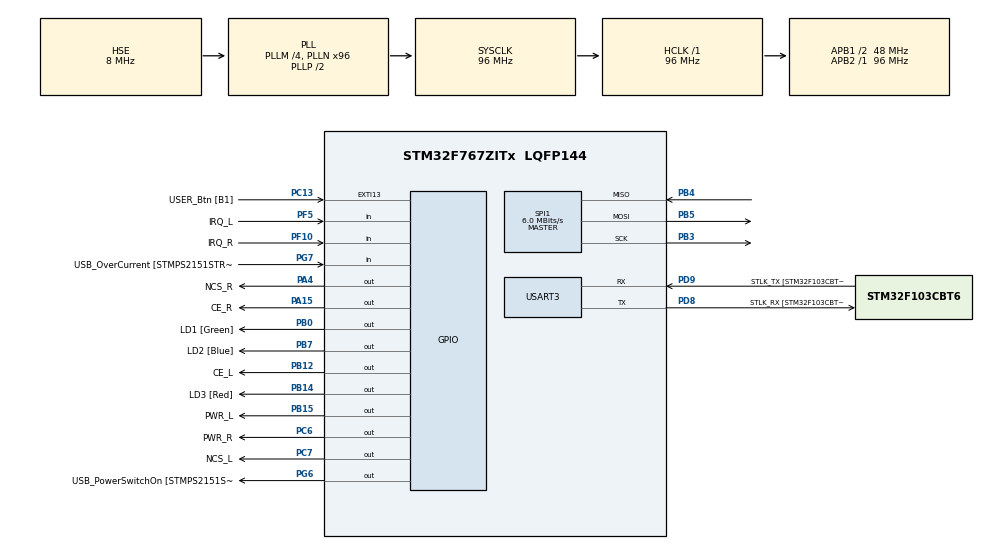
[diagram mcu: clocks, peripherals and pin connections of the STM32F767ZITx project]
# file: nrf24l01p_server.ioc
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FREERTOS.Mutexes01=myMutex01,Dynamic,NULL
FREERTOS.Tasks01=defaultTask,0,128,StartDefaultTask,Default,NULL,Dynamic,NULL,NULL;ptxTask,0,128,startPtxTask,Default,NULL,Dynamic,NULL,NULL;prxTask,-3,128,startPrxTask,Default,NULL,Dynamic,NULL,NULL
FREERTOS.configUSE_NEWLIB_REENTRANT=1
Mcu.Family=STM32F7
Mcu.Name=STM32F767ZITx
Mcu.Package=LQFP144
NVIC.EXTI15_10_IRQn=true\:5\:0\:false\:false\:true\:true\:true\:true
NVIC.PriorityGroup=NVIC_PRIORITYGROUP_4
NVIC.TIM1_UP_TIM10_IRQn=true\:15\:0\:false\:false\:true\:false\:false\:true
NVIC.TimeBase=TIM1_UP_TIM10_IRQn
NVIC.TimeBaseIP=TIM1
NVIC.USART3_IRQn=true\:5\:0\:false\:false\:true\:true\:true\:true
PA1.GPIO_Label=RMII_REF_CLK [LAN8742A-CZ-TR_REFCLK0]
PA1.Signal=ETH_REF_CLK
PA10.GPIO_Label=USB_ID
PA10.Signal=USB_OTG_FS_ID
PA11.GPIO_Label=USB_DM
PA11.Signal=USB_OTG_FS_DM
PA12.GPIO_Label=USB_DP
PA12.Signal=USB_OTG_FS_DP
PA13.GPIO_Label=TMS
PA13.Mode=Serial_Wire
PA13.Signal=SYS_JTMS-SWDIO
PA14.GPIO_Label=TCK
PA14.Mode=Serial_Wire
PA14.Signal=SYS_JTCK-SWCLK
PA15.GPIO_Label=CE_R
PA15.Signal=GPIO_Output
PA2.GPIO_Label=RMII_MDIO [LAN8742A-CZ-TR_MDIO]
PA2.Signal=ETH_MDIO
PA4.GPIO_Label=NCS_R
PA4.PinState=GPIO_PIN_SET
PA4.Signal=GPIO_Output
PA7.GPIO_Label=RMII_CRS_DV [LAN8742A-CZ-TR_CRS_DV]
PA7.Signal=ETH_CRS_DV
PA8.GPIO_Label=USB_SOF [TP1]
PA8.Signal=USB_OTG_FS_SOF
PA9.GPIO_Label=USB_VBUS
PA9.Signal=USB_OTG_FS_VBUS
PB0.GPIO_Label=LD1 [Green]
PB0.Signal=GPIO_Output
PB12.GPIO_Label=CE_L
PB12.Signal=GPIO_Output
PB13.GPIO_Label=RMII_TXD1 [LAN8742A-CZ-TR_TXD1]
PB13.Signal=ETH_TXD1
PB14.GPIO_Label=LD3 [Red]
PB14.Signal=GPIO_Output
PB15.GPIO_Label=PWR_L
PB15.PinState=GPIO_PIN_SET
PB15.Signal=GPIO_Output
PB3.Mode=Full_Duplex_Master
PB3.Signal=SPI1_SCK
PB4.Mode=Full_Duplex_Master
PB4.Signal=SPI1_MISO
PB5.Mode=Full_Duplex_Master
PB5.Signal=SPI1_MOSI
PB7.GPIO_Label=LD2 [Blue]
PB7.Signal=GPIO_Output
PC1.GPIO_Label=RMII_MDC [LAN8742A-CZ-TR_MDC]
PC1.Signal=ETH_MDC
PC13.GPIO_Label=USER_Btn [B1]
PC13.Signal=GPXTI13
PC14/OSC32_IN.Mode=LSE-External-Oscillator
PC14/OSC32_IN.Signal=RCC_OSC32_IN
PC15/OSC32_OUT.Mode=LSE-External-Oscillator
PC15/OSC32_OUT.Signal=RCC_OSC32_OUT
PC4.GPIO_Label=RMII_RXD0 [LAN8742A-CZ-TR_RXD0]
PC4.Signal=ETH_RXD0
PC5.GPIO_Label=RMII_RXD1 [LAN8742A-CZ-TR_RXD1]
PC5.Signal=ETH_RXD1
PC6.GPIO_Label=PWR_R
PC6.PinState=GPIO_PIN_SET
PC6.Signal=GPIO_Output
PC7.GPIO_Label=NCS_L
PC7.Signal=GPIO_Output
PD8.GPIO_Label=STLK_RX [STM32F103CBT6_PA3]
PD8.Mode=Asynchronous
PD8.Signal=USART3_TX
PD9.GPIO_Label=STLK_TX [STM32F103CBT6_PA2]
PD9.Mode=Asynchronous
PD9.Signal=USART3_RX
PF10.GPIO_Label=IRQ_R
PF10.GPIO_PuPd=GPIO_PULLUP
PF10.Signal=GPIO_Input
PF5.GPIO_Label=IRQ_L
PF5.GPIO_PuPd=GPIO_PULLUP
PF5.Signal=GPIO_Input
PG11.GPIO_Label=RMII_TX_EN [LAN8742A-CZ-TR_TXEN]
PG11.Signal=ETH_TX_EN
PG13.GPIO_Label=RMII_TXD0 [LAN8742A-CZ-TR_TXD0]
PG13.Signal=ETH_TXD0
PG6.GPIO_Label=USB_PowerSwitchOn [STMPS2151STR_EN]
PG6.Signal=GPIO_Output
PG7.GPIO_Label=USB_OverCurrent [STMPS2151STR_FAULT]
PG7.Signal=GPIO_Input
PH0/OSC_IN.GPIO_Label=MCO [STM32F103CBT6_PA8]
PH0/OSC_IN.Mode=HSE-External-Clock-Source
PH0/OSC_IN.Signal=RCC_OSC_IN
PH1/OSC_OUT.Mode=HSE-External-Clock-Source
PH1/OSC_OUT.Signal=RCC_OSC_OUT
ProjectManager.HeapSize=0x200
ProjectManager.StackSize=0x400
ProjectManager.TargetToolchain=STM32CubeIDE
RCC.48MHZClocksFreq_Value=24000000
RCC.AHBFreq_Value=96000000
RCC.APB1CLKDivider=RCC_HCLK_DIV2
RCC.APB1Freq_Value=48000000
RCC.APB1TimFreq_Value=96000000
RCC.APB2Freq_Value=96000000
RCC.APB2TimFreq_Value=96000000
RCC.CortexFreq_Value=96000000
RCC.HCLKFreq_Value=96000000
RCC.HSE_VALUE=8000000
RCC.HSI_VALUE=16000000
RCC.PLLM=4
RCC.PLLMUL=RCC_PLL_MUL9
RCC.PLLN=96
RCC.PLLQ=4
RCC.PLLSourceVirtual=RCC_PLLSOURCE_HSE
RCC.PRESCALERUSB=RCC_USBCLKSOURCE_PLL_DIV1_5
RCC.SYSCLKFreq_VALUE=96000000
RCC.SYSCLKSource=RCC_SYSCLKSOURCE_PLLCLK
RCC.SYSCLKSourceVirtual=RCC_SYSCLKSOURCE_PLLCLK
RCC.USBFreq_Value=48000000
RCC.VCOOutputFreq_Value=192000000
SPI1.BaudRatePrescaler=SPI_BAUDRATEPRESCALER_16
SPI1.CalculateBaudRate=6.0 MBits/s
SPI1.DataSize=SPI_DATASIZE_8BIT
SPI1.Direction=SPI_DIRECTION_2LINES
SPI1.Mode=SPI_MODE_MASTER
SPI1.VirtualType=VM_MASTER
USART3.VirtualMode-Asynchronous=VM_ASYNC
VP_FREERTOS_VS_CMSIS_V1.Mode=CMSIS_V1
VP_SYS_VS_tim1.Mode=TIM1
board=NUCLEO-F767ZI

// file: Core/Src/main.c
/* USER CODE BEGIN Header */
/**
  ******************************************************************************
  * @file           : main.c
  * @brief          : Main program body
  ******************************************************************************
  * @attention
  *
  * Copyright (c) 2022 STMicroelectronics.
  * All rights reserved.
  *
  * This software is licensed under terms that can be found in the LICENSE file
  * in the root directory of this software component.
  * If no LICENSE file comes with this software, it is provided AS-IS.
  *
  ******************************************************************************
  */
/* USER CODE END Header */
#include "main.h"
#include "cmsis_os.h"
#include "spi.h"
#include "usart.h"
#include "gpio.h"

/* USER CODE BEGIN Includes */
#include <string.h>
#include <stdio.h>
#include "xuart_ring.h"

#include "nrf24l01p_driver.h"
#include "nrf24l01p_driver_B.h"

/* USER CODE END Includes */

void SystemClock_Config(void);
void MX_FREERTOS_Init(void);

int main(void)
{

  /* MCU Configuration--------------------------------------------------------*/

  /* Reset of all peripherals, Initializes the Flash interface and the Systick. */
  HAL_Init();

  /* Configure the system clock */
  SystemClock_Config();

  /* Initialize all configured peripherals */
  MX_GPIO_Init();
  MX_USART3_UART_Init();
  MX_SPI1_Init();
  /* USER CODE BEGIN 2 */
  UARTstartISR();
  /* USER CODE END 2 */

  /* Call init function for freertos objects (in freertos.c) */
  MX_FREERTOS_Init();
  /* Start scheduler */
  osKernelStart();

  /* We should never get here as control is now taken by the scheduler */
  /* Infinite loop */
  while (1)
  {

  }
}

void SystemClock_Config(void)
{
  RCC_OscInitTypeDef RCC_OscInitStruct = {0};
  RCC_ClkInitTypeDef RCC_ClkInitStruct = {0};

  /** Configure LSE Drive Capability
  */
  HAL_PWR_EnableBkUpAccess();
  /** Configure the main internal regulator output voltage
  */
  __HAL_RCC_PWR_CLK_ENABLE();
  __HAL_PWR_VOLTAGESCALING_CONFIG(PWR_REGULATOR_VOLTAGE_SCALE3);
  /** Initializes the RCC Oscillators according to the specified parameters
  * in the RCC_OscInitTypeDef structure.
  */
  RCC_OscInitStruct.OscillatorType = RCC_OSCILLATORTYPE_HSE;
  RCC_OscInitStruct.HSEState = RCC_HSE_BYPASS;
  RCC_OscInitStruct.PLL.PLLState = RCC_PLL_ON;
  RCC_OscInitStruct.PLL.PLLSource = RCC_PLLSOURCE_HSE;
  RCC_OscInitStruct.PLL.PLLM = 4;
  RCC_OscInitStruct.PLL.PLLN = 96;
  RCC_OscInitStruct.PLL.PLLP = RCC_PLLP_DIV2;
  RCC_OscInitStruct.PLL.PLLQ = 4;
  RCC_OscInitStruct.PLL.PLLR = 2;
  if (HAL_RCC_OscConfig(&RCC_OscInitStruct) != HAL_OK)
  {
    Error_Handler();
  }
  /** Activate the Over-Drive mode
  */
  if (HAL_PWREx_EnableOverDrive() != HAL_OK)
  {
    Error_Handler();
  }
  /** Initializes the CPU, AHB and APB buses clocks
  */
  RCC_ClkInitStruct.ClockType = RCC_CLOCKTYPE_HCLK|RCC_CLOCKTYPE_SYSCLK
                              |RCC_CLOCKTYPE_PCLK1|RCC_CLOCKTYPE_PCLK2;
  RCC_ClkInitStruct.SYSCLKSource = RCC_SYSCLKSOURCE_PLLCLK;
  RCC_ClkInitStruct.AHBCLKDivider = RCC_SYSCLK_DIV1;
  RCC_ClkInitStruct.APB1CLKDivider = RCC_HCLK_DIV2;
  RCC_ClkInitStruct.APB2CLKDivider = RCC_HCLK_DIV1;

  if (HAL_RCC_ClockConfig(&RCC_ClkInitStruct, FLASH_LATENCY_3) != HAL_OK)
  {
    Error_Handler();
  }
}

void HAL_TIM_PeriodElapsedCallback(TIM_HandleTypeDef *htim)
{
  if (htim->Instance == TIM1) {
    HAL_IncTick();
  }
}

void Error_Handler(void)
{
  __disable_irq();
  while (1)
  {
  }
}

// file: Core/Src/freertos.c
/* USER CODE BEGIN Header */
/**
  ******************************************************************************
  * File Name          : freertos.c
  * Description        : Code for freertos applications
  ******************************************************************************
  * @attention
  *
  * Copyright (c) 2022 STMicroelectronics.
  * All rights reserved.
  *
  * This software is licensed under terms that can be found in the LICENSE file
  * in the root directory of this software component.
  * If no LICENSE file comes with this software, it is provided AS-IS.
  *
  ******************************************************************************
  */
/* USER CODE END Header */

#include "FreeRTOS.h"
#include "task.h"
#include "main.h"
#include "cmsis_os.h"

/* USER CODE BEGIN Includes */
#include <stdio.h>

#include "nrf24l01p_driver.h"
#include "nrf24l01p_driver_B.h"
/* USER CODE END Includes */

/* USER CODE BEGIN PD */
#define COMMUNICATION_PERIOD 1
/* USER CODE END PD */

/* USER CODE BEGIN Variables */
uint8_t PRXsends[33] = {0};
uint8_t PTXsends[33] = {0};
uint8_t PRXreceives[33] = {0};
uint8_t PTXreceives[33] = {0};

/* USER CODE END Variables */
osThreadId defaultTaskHandle;
osThreadId ptxTaskHandle;
osThreadId prxTaskHandle;
osMutexId myMutex01Handle;

/* USER CODE BEGIN FunctionPrototypes */
void NRF_delay(uint32_t millisec) {osDelay(millisec);}
uint32_t NRF_appTimeOutStats(bool printStatistics, uint32_t* pByteCnt, uint32_t *pTick, uint32_t* pNoComPeriod);
/* USER CODE END FunctionPrototypes */

void StartDefaultTask(void const * argument);
void startPtxTask(void const * argument);
void startPrxTask(void const * argument);

void MX_FREERTOS_Init(void); /* (MISRA C 2004 rule 8.1) */

/* GetIdleTaskMemory prototype (linked to static allocation support) */
void vApplicationGetIdleTaskMemory( StaticTask_t **ppxIdleTaskTCBBuffer, StackType_t **ppxIdleTaskStackBuffer, uint32_t *pulIdleTaskStackSize );

/* USER CODE BEGIN GET_IDLE_TASK_MEMORY */
static StaticTask_t xIdleTaskTCBBuffer;
static StackType_t xIdleStack[configMINIMAL_STACK_SIZE];

void vApplicationGetIdleTaskMemory( StaticTask_t **ppxIdleTaskTCBBuffer, StackType_t **ppxIdleTaskStackBuffer, uint32_t *pulIdleTaskStackSize )
{
  *ppxIdleTaskTCBBuffer = &xIdleTaskTCBBuffer;
  *ppxIdleTaskStackBuffer = &xIdleStack[0];
  *pulIdleTaskStackSize = configMINIMAL_STACK_SIZE;
  /* place for user code */
}
/* USER CODE END GET_IDLE_TASK_MEMORY */

void MX_FREERTOS_Init(void) {
  /* Create the mutex(es) */
  /* definition and creation of myMutex01 */
  osMutexDef(myMutex01);
  myMutex01Handle = osMutexCreate(osMutex(myMutex01));

  /* Create the thread(s) */
  /* definition and creation of defaultTask */
  osThreadDef(defaultTask, StartDefaultTask, osPriorityNormal, 0, 128);
  defaultTaskHandle = osThreadCreate(osThread(defaultTask), NULL);

  /* definition and creation of ptxTask */
  osThreadDef(ptxTask, startPtxTask, osPriorityNormal, 0, 128);
  ptxTaskHandle = osThreadCreate(osThread(ptxTask), NULL);

  /* definition and creation of prxTask */
  osThreadDef(prxTask, startPrxTask, osPriorityIdle, 0, 128);
  prxTaskHandle = osThreadCreate(osThread(prxTask), NULL);

}

void StartDefaultTask(void const * argument)
{
  /* USER CODE BEGIN StartDefaultTask */
  /* Infinite loop */
  for(;;)
  {
    osDelay(100);
  }
  /* USER CODE END StartDefaultTask */
}

void startPtxTask(void const * argument)
{
  /* USER CODE BEGIN startPtxTask */
	  const uint8_t RX_PIPE = 0;
	  const uint32_t TX_TIMEOUT = 3;
	  uint32_t noComPeriod = 0;
	  uint32_t byteCnt = 0;
	  uint32_t tick = osKernelSysTick();
  /* Infinite loop */
  for(;;)
  {
	  if(0x0E != NRF_powerCycle(NRF_delay))
	  {
		  continue;
	  }

	  NRF_configure(true);

	  while(1)
	  {
		  sprintf((char*)PTXsends, "%032ld", 0x7FFFFFFF - HAL_GetTick());

		  NRF_setW_TX_PAYLOAD(PTXsends, strlen((char*)PTXsends));
		  NRF_activeRF(osKernelSysTick, NRF_delay, TX_TIMEOUT);
		  byteCnt += NRF_postProcess(RX_PIPE, PTXreceives);

		  if(0 == NRF_appTimeOutStats(false, &byteCnt, &tick, &noComPeriod)) { break;}

		  osDelay(2*COMMUNICATION_PERIOD);
	  }
  }
  /* USER CODE END startPtxTask */
}

void startPrxTask(void const * argument)
{
  /* USER CODE BEGIN startPrxTask */
  const uint8_t RX_PIPE = 0;
  const uint32_t RX_TIMEOUT = 20;
  uint32_t noComPeriod = 0;
  uint32_t byteCnt = 0;
  uint32_t tick = osKernelSysTick();

  /* Infinite loop */
  for(;;)
  {
	  if(0x0E != NRF_powerCycle_B(NRF_delay)) { continue; }

	  NRF_configure_B(false);

	  while(1)
	  {
		  sprintf((char*)PRXsends, "%032ld", 0x7FFFFFFF - HAL_GetTick());
		  NRF_set_W_ACK_PAYLOAD_B(0, PRXsends, strlen((char*)PRXsends));
		  NRF_activeRF_B(osKernelSysTick, NRF_delay, RX_TIMEOUT);
		  byteCnt += NRF_postProcess_B(RX_PIPE, PRXreceives);

		  if(0 == NRF_appTimeOutStats(true, &byteCnt, &tick, &noComPeriod)) { break;}

		  osDelay(COMMUNICATION_PERIOD);
	  }
  }
  /* USER CODE END startPrxTask */
}

/* USER CODE BEGIN Application */

/**
 * @brief Statistic function to check received bytes, compare timeout tick and invoke reset return value.
 * @param printStatistics when true prints statistic information.
 * @pByteCnt value passed by pointer.
 * @pTick value passed by pointer.
 * @pNoComPeriod value passed by pointer.
 *
 * @return 0 when reset needed, (uint32_t)(-1) otherwise.
 */
uint32_t NRF_appTimeOutStats(bool printStatistics, uint32_t* pByteCnt, uint32_t *pTick, uint32_t* pNoComPeriod)
{

const uint32_t SECOND_PERIOD = 1000;
const uint32_t FIVE_SECONDS_PERIOD = 5;

	uint32_t aux = (uint32_t)(-1);

	  if(*pTick + SECOND_PERIOD < osKernelSysTick())
	  {
		  if(printStatistics)
		  {
			  printf("pRX: %ld B /%ld ms\n", *pByteCnt, SECOND_PERIOD);
		  }

		  if(0 == *pByteCnt)
		  {
			  *pNoComPeriod = *pNoComPeriod + 1;
		  }
		  else
		  {
			  *pNoComPeriod = 0;
		  }

		  *pByteCnt = 0;
		  *pTick = osKernelSysTick();
	  }

	  if(*pNoComPeriod > FIVE_SECONDS_PERIOD)
	  {
		  *pNoComPeriod = 0;
		  aux = 0;
	  }

	  return aux;
}
/* USER CODE END Application */
